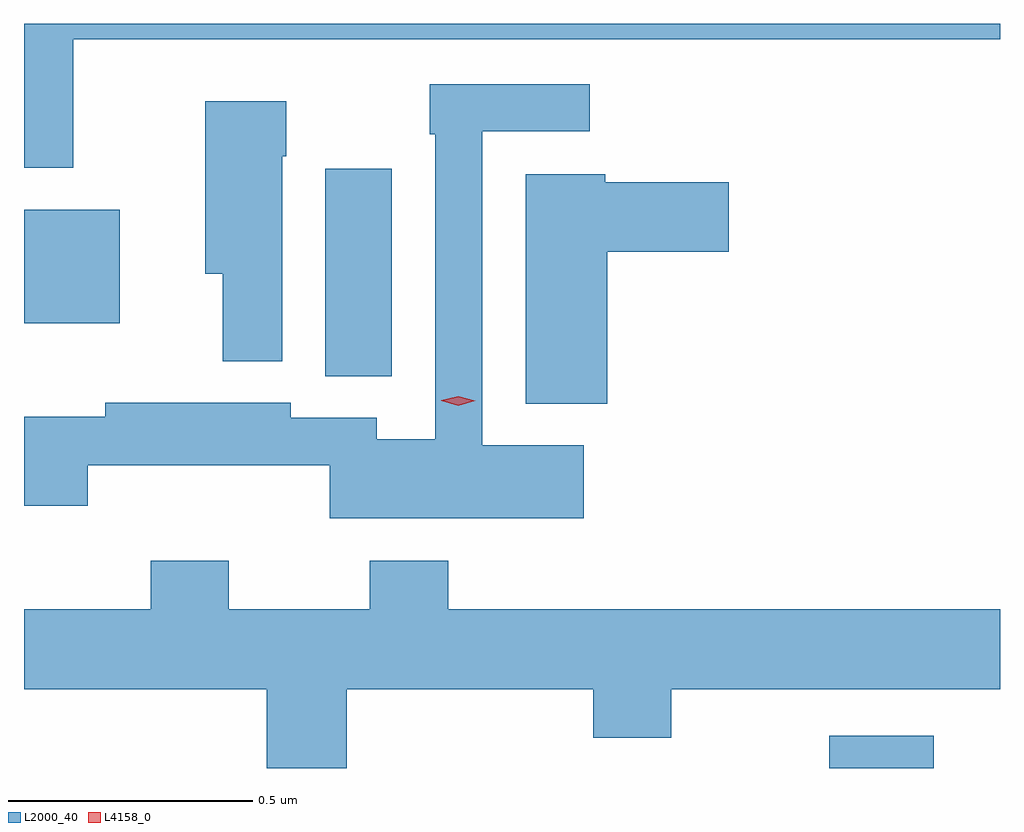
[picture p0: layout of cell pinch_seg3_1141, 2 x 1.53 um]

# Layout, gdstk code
import gdstk
lib = gdstk.Library(unit=1e-6, precision=1e-09)
def R(c, l, rs):  # rectangles x0, y0, x1, y1
    for r in rs: c.add(gdstk.rectangle(r[:2], r[2:], *l))
def P(c, l, *ps):  # polygons
    for p in ps: c.add(gdstk.Polygon(p, *l))
L2000_40 = (2000, 40)
L4158_0 = (4158, 0)

pinch_seg3_1141 = lib.new_cell('pinch_seg3_1141')
R(pinch_seg3_1141, L2000_40, [(262.065,747.374,262.279,747.441), (261.032,748.177,261.169,748.603), (260.415,748.286,260.611,748.519)])
P(pinch_seg3_1141, L2000_40, [(260.516,748.868),(262.415,748.868),(262.415,748.9),(260.415,748.9),(260.415,748.605),(260.516,748.605)],
  [(261.562,748.036),(261.354,748.036),(261.354,748.68),(261.574,748.68),(261.574,748.776),(261.246,748.776),(261.246,748.673),(261.258,748.673),(261.258,748.048),(261.138,748.048),(261.138,748.092),(260.962,748.092),(260.962,748.123),(260.582,748.123),(260.582,748.094),(260.415,748.094),(260.415,747.912),(260.546,747.912),(260.546,747.995),(261.042,747.995),(261.042,747.887),(261.562,747.887)],
  [(260.944,748.628),(260.952,748.628),(260.952,748.741),(260.786,748.741),(260.786,748.388),(260.822,748.388),(260.822,748.208),(260.944,748.208)],
  [(261.61,748.433),(261.859,748.433),(261.859,748.575),(261.606,748.575),(261.606,748.591),(261.443,748.591),(261.443,748.121),(261.61,748.121)],
  [(261.076,747.536),(261.581,747.536),(261.581,747.437),(261.741,747.437),(261.741,747.536),(262.415,747.536),(262.415,747.7),(261.284,747.7),(261.284,747.799),(261.124,747.799),(261.124,747.7),(260.835,747.7),(260.835,747.799),(260.675,747.799),(260.675,747.7),(260.415,747.7),(260.415,747.536),(260.912,747.536),(260.912,747.374),(261.076,747.374)])
P(pinch_seg3_1141, L4158_0, [(261.305,748.117),(261.27,748.127),(261.27,748.128),(261.27,748.128),(261.305,748.137),(261.34,748.127),(261.34,748.127),(261.34,748.127)])

lib.write_gds('pinch_seg3_1141.gds')
